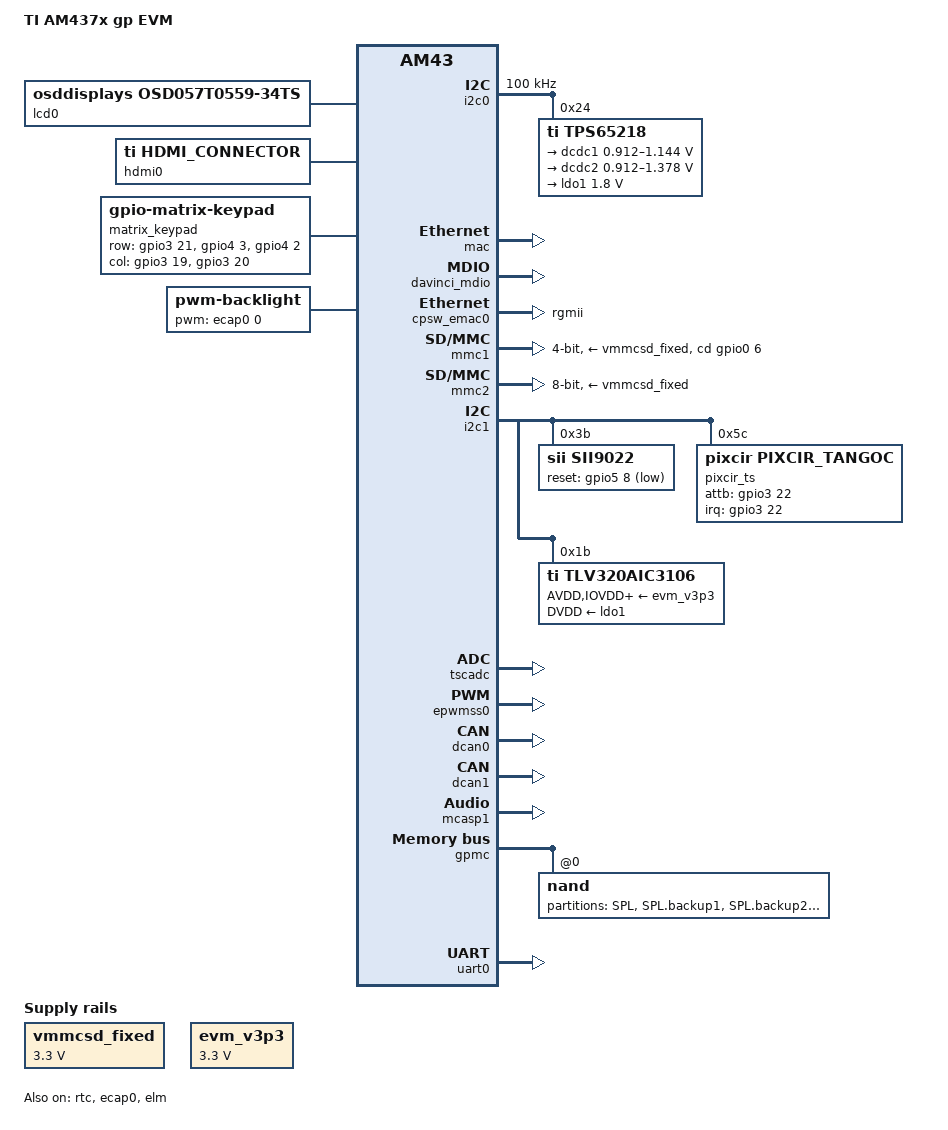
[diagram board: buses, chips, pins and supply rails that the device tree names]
/*
 * Copyright (C) 2013 Texas Instruments Incorporated - http://www.ti.com/
 *
 * This program is free software; you can redistribute it and/or modify
 * it under the terms of the GNU General Public License version 2 as
 * published by the Free Software Foundation.
 */

/* AM437x GP EVM */

/dts-v1/;

#include "am43x-common-evm.dtsi"
#include <dt-bindings/pinctrl/am43xx.h>
#include <dt-bindings/pwm/pwm.h>

/ {
	model = "TI AM437x gp EVM";
	compatible = "ti,am437x-gp-evm","ti,am4372","ti,am43";

	vmmcsd_fixed: fixedregulator-sd {
		compatible = "regulator-fixed";
		regulator-name = "vmmcsd_fixed";
		regulator-min-microvolt = <3300000>;
		regulator-max-microvolt = <3300000>;
		enable-active-high;
	};

	evm_v3p3: tps63031 {
		compatible = "regulator-fixed";
		regulator-name = "evm_v3p3";
		regulator-min-microvolt = <3300000>;
		regulator-max-microvolt = <3300000>;
	};

	aliases {
		display0 = &lcd0;
		display1 = &hdmi0;
	};

	lcd0: display@0 {
		compatible = "osddisplays,osd057T0559-34ts", "panel-dpi";
		video-source = <&dpi>;
		data-lines = <24>;
		panel-timing {
			clock-frequency = <33000000>;
			hactive = <800>;
			vactive = <480>;
			hfront-porch = <210>;
			hback-porch = <16>;
			hsync-len = <30>;
			vback-porch = <10>;
			vfront-porch = <22>;
			vsync-len = <13>;
			hsync-active = <0>;
			vsync-active = <0>;
			de-active = <1>;
			pixelclk-active = <1>;
		};
	};

	hdmi0: connector@1 {
		compatible = "ti,hdmi_connector";
		video-source = <&sii9022>;
	};

	sound {
		compatible = "ti,da830-evm-audio";
		ti,model = "AM437x-GP-EVM";
		ti,audio-codec = <&tlv320aic3106>;
		ti,mcasp-controller = <&mcasp1>;
		ti,codec-clock-rate = <12000000>;
		ti,audio-routing =
			"Headphone Jack",       "HPLOUT",
			"Headphone Jack",       "HPROUT",
			"LINE1L",               "Line In",
			"LINE1R",               "Line In";
	};

	matrix_keypad: matrix_keypad@0 {
		compatible = "gpio-matrix-keypad";
		debounce-delay-ms = <5>;
		col-scan-delay-us = <2>;

		row-gpios = <&gpio3 21 GPIO_ACTIVE_HIGH /* Bank3, pin21 */
				&gpio4 3 GPIO_ACTIVE_HIGH /* Bank4, pin3 */
				&gpio4 2 GPIO_ACTIVE_HIGH>; /* Bank4, pin2 */

		col-gpios = <&gpio3 19 GPIO_ACTIVE_HIGH /* Bank3, pin19 */
				&gpio3 20 GPIO_ACTIVE_HIGH>; /* Bank3, pin20 */

		linux,keymap = <0x00000201      /* P1 */
				0x00010202      /* P2 */
				0x01000067      /* UP */
				0x0101006a      /* RIGHT */
				0x02000069	/* LEFT */
				0x0201006c>;      /* DOWN */
	};

	backlight {
		compatible = "pwm-backlight";
		pwms = <&ecap0 0 50000 PWM_POLARITY_INVERTED>;
		brightness-levels = <0 51 53 56 62 75 101 152 255>;
		default-brightness-level = <8>;
	};

	cpus {
		cpu@0 {
			cpu0-supply = <&dcdc2>;
		};
	};
};

&am43xx_pinmux {

	cpsw_default: cpsw_default {
		pinctrl-single,pins = <
			/* Slave 1 */
			0x114 (PIN_OUTPUT_PULLDOWN | MUX_MODE2)	/* mii1_txen.rgmii1_txen */
			0x118 (PIN_INPUT_PULLDOWN | MUX_MODE2)	/* mii1_rxdv.rgmii1_rxctl */
			0x11c (PIN_OUTPUT_PULLDOWN | MUX_MODE2)	/* mii1_txd1.rgmii1_txd3 */
			0x120 (PIN_OUTPUT_PULLDOWN | MUX_MODE2)	/* mii1_txd0.rgmii1_txd2 */
			0x124 (PIN_OUTPUT_PULLDOWN | MUX_MODE2)	/* mii1_txd1.rgmii1_txd1 */
			0x128 (PIN_OUTPUT_PULLDOWN | MUX_MODE2)	/* mii1_txd0.rgmii1_txd0 */
			0x12c (PIN_OUTPUT_PULLDOWN | MUX_MODE2)	/* mii1_txclk.rmii1_tclk */
			0x130 (PIN_INPUT_PULLDOWN | MUX_MODE2)	/* mii1_rxclk.rmii1_rclk */
			0x134 (PIN_INPUT_PULLDOWN | MUX_MODE2)	/* mii1_rxd1.rgmii1_rxd3 */
			0x138 (PIN_INPUT_PULLDOWN | MUX_MODE2)	/* mii1_rxd0.rgmii1_rxd2 */
			0x13c (PIN_INPUT_PULLDOWN | MUX_MODE2)	/* mii1_rxd1.rgmii1_rxd1 */
			0x140 (PIN_INPUT_PULLDOWN | MUX_MODE2)	/* mii1_rxd0.rgmii1_rxd0 */
		>;
	};

	cpsw_sleep: cpsw_sleep {
		pinctrl-single,pins = <
			/* Slave 1 reset value */
			0x10c (PIN_INPUT_PULLDOWN | MUX_MODE7)
			0x114 (PIN_INPUT_PULLDOWN | MUX_MODE7)
			0x118 (PIN_INPUT_PULLDOWN | MUX_MODE7)
			0x11c (PIN_INPUT_PULLDOWN | MUX_MODE7)
			0x120 (PIN_INPUT_PULLDOWN | MUX_MODE7)
			0x124 (PIN_INPUT_PULLDOWN | MUX_MODE7)
			0x128 (PIN_INPUT_PULLDOWN | MUX_MODE7)
			0x12c (PIN_INPUT_PULLDOWN | MUX_MODE7)
			0x130 (PIN_INPUT_PULLDOWN | MUX_MODE7)
			0x134 (PIN_INPUT_PULLDOWN | MUX_MODE7)
			0x138 (PIN_INPUT_PULLDOWN | MUX_MODE7)
			0x13c (PIN_INPUT_PULLDOWN | MUX_MODE7)
			0x140 (PIN_INPUT_PULLDOWN | MUX_MODE7)
		>;
	};

	davinci_mdio_default: davinci_mdio_default {
		pinctrl-single,pins = <
			/* MDIO */
			0x148 (PIN_INPUT_PULLUP | SLEWCTRL_FAST | MUX_MODE0)	/* mdio_data.mdio_data */
			0x14c (PIN_OUTPUT_PULLUP | MUX_MODE0)			/* mdio_clk.mdio_clk */
		>;
	};

	davinci_mdio_sleep: davinci_mdio_sleep {
		pinctrl-single,pins = <
			/* MDIO reset value */
			0x148 (PIN_INPUT_PULLDOWN | MUX_MODE7)
			0x14c (PIN_INPUT_PULLDOWN | MUX_MODE7)
		>;
	};

	mmc1_pins: pinmux_mmc1_pins {
		pinctrl-single,pins = <
			0x160 (PIN_INPUT | MUX_MODE7) /* spi0_cs1.gpio0_6 */
		>;
	};

	emmc_pins: pinmux_emmc_pins {
		pinctrl-single,pins = <
			0x80 (PIN_INPUT_PULLUP | MUX_MODE2) /* gpmc_csn1.mmc1_clk */
			0x84 (PIN_INPUT_PULLUP | MUX_MODE2) /* gpmc_csn2.mmc1_cmd */
			0x00 (PIN_INPUT_PULLUP | MUX_MODE1) /* gpmc_ad0.mmc1_dat0 */
			0x04 (PIN_INPUT_PULLUP | MUX_MODE1) /* gpmc_ad1.mmc1_dat1 */
			0x08 (PIN_INPUT_PULLUP | MUX_MODE1) /* gpmc_ad2.mmc1_dat2 */
			0x0c (PIN_INPUT_PULLUP | MUX_MODE1) /* gpmc_ad3.mmc1_dat3 */
			0x10 (PIN_INPUT_PULLUP | MUX_MODE1) /* gpmc_ad4.mmc1_dat4 */
			0x14 (PIN_INPUT_PULLUP | MUX_MODE1) /* gpmc_ad5.mmc1_dat5 */
			0x18 (PIN_INPUT_PULLUP | MUX_MODE1) /* gpmc_ad6.mmc1_dat6 */
			0x1c (PIN_INPUT_PULLUP | MUX_MODE1) /* gpmc_ad7.mmc1_dat7 */
		>;
	};

	i2c0_pins: pinmux_i2c0_pins {
		pinctrl-single,pins = <
			0x188 (PIN_INPUT_PULLUP | SLEWCTRL_FAST | MUX_MODE0)    /* i2c0_sda.i2c0_sda */
			0x18c (PIN_INPUT_PULLUP | SLEWCTRL_FAST | MUX_MODE0)    /* i2c0_scl.i2c0_scl */
		>;
	};

	i2c1_pins: i2c1_pins {
		pinctrl-single,pins = <
			0x15c   (PIN_INPUT_PULLUP | SLEWCTRL_FAST | MUX_MODE2)  /* spi0_cs0.i2c1_scl */
			0x158   (PIN_INPUT_PULLUP | SLEWCTRL_FAST | MUX_MODE2)  /* spi0_d1.i2c1_sda */
		>;
	};

	dss_pinctrl: dss_pinctrl {
		pinctrl-single,pins = <
			0x020 (PIN_OUTPUT_PULLUP | MUX_MODE1) /*gpmc ad 8 -> DSS DATA 23 */
			0x024 (PIN_OUTPUT_PULLUP | MUX_MODE1)
			0x028 (PIN_OUTPUT_PULLUP | MUX_MODE1)
			0x02C (PIN_OUTPUT_PULLUP | MUX_MODE1)
			0x030 (PIN_OUTPUT_PULLUP | MUX_MODE1)
			0x034 (PIN_OUTPUT_PULLUP | MUX_MODE1)
			0x038 (PIN_OUTPUT_PULLUP | MUX_MODE1)
			0x03C (PIN_OUTPUT_PULLUP | MUX_MODE1) /*gpmc ad 15 -> DSS DATA 16 */
			0x0A0 (PIN_OUTPUT_PULLUP | MUX_MODE0) /* DSS DATA 0 */
			0x0A4 (PIN_OUTPUT_PULLUP | MUX_MODE0)
			0x0A8 (PIN_OUTPUT_PULLUP | MUX_MODE0)
			0x0AC (PIN_OUTPUT_PULLUP | MUX_MODE0)
			0x0B0 (PIN_OUTPUT_PULLUP | MUX_MODE0)
			0x0B4 (PIN_OUTPUT_PULLUP | MUX_MODE0)
			0x0B8 (PIN_OUTPUT_PULLUP | MUX_MODE0)
			0x0BC (PIN_OUTPUT_PULLUP | MUX_MODE0)
			0x0C0 (PIN_OUTPUT_PULLUP | MUX_MODE0)
			0x0C4 (PIN_OUTPUT_PULLUP | MUX_MODE0)
			0x0C8 (PIN_OUTPUT_PULLUP | MUX_MODE0)
			0x0CC (PIN_OUTPUT_PULLUP | MUX_MODE0)
			0x0D0 (PIN_OUTPUT_PULLUP | MUX_MODE0)
			0x0D4 (PIN_OUTPUT_PULLUP | MUX_MODE0)
			0x0D8 (PIN_OUTPUT_PULLUP | MUX_MODE0)
			0x0DC (PIN_OUTPUT_PULLUP | MUX_MODE0) /* DSS DATA 15 */
			0x0E0 (PIN_OUTPUT_PULLUP | MUX_MODE0) /* DSS VSYNC */
			0x0E4 (PIN_OUTPUT_PULLUP | MUX_MODE0) /* DSS HSYNC */
			0x0E8 (PIN_OUTPUT_PULLUP | MUX_MODE0) /* DSS PCLK */
			0x0EC (PIN_OUTPUT_PULLUP | MUX_MODE0) /* DSS AC BIAS EN */
			0x238 (PIN_OUTPUT_PULLUP | MUX_MODE7) /* GPIO 5_8 to select LCD / HDMI */
		>;
	};

	ecap0_pins: backlight_pins {
		pinctrl-single,pins = <
			0x164 0x0       /* eCAP0_in_PWM0_out.eCAP0_in_PWM0_out MODE0 */
		>;
	};

	pixcir_ts_pins: pixcir_ts_pins {
		pinctrl-single,pins = <
			0x264 (PIN_INPUT_PULLUP | MUX_MODE7)  /* spi2_d0.gpio3_22 */
		>;
	};

	dcan0_default: dcan0_default_pins {
		pinctrl-single,pins = <
			0x178 (PIN_OUTPUT_PULLDOWN | MUX_MODE2) /* uart1_ctsn.d_can0_tx */
			0x17c (PIN_INPUT_PULLUP | MUX_MODE2) /* uart1_rtsn.d_can0_rx */
		>;
	};

	dcan1_default: dcan1_default_pins {
		pinctrl-single,pins = <
			0x180 (PIN_OUTPUT_PULLDOWN | MUX_MODE2) /* uart1_rxd.d_can1_tx */
			0x184 (PIN_INPUT_PULLUP | MUX_MODE2) /* uart1_txd.d_can1_rx */
		>;
	};

	mcasp1_pins: mcasp1_pins {
		pinctrl-single,pins = <
			0x108 (PIN_OUTPUT_PULLDOWN | MUX_MODE4)	/* mii1_col.mcasp1_axr2 */
			0x10c (PIN_INPUT_PULLDOWN | MUX_MODE4)	/* mii1_crs.mcasp1_aclkx */
			0x110 (PIN_INPUT_PULLDOWN | MUX_MODE4)	/* mii1_rxerr.mcasp1_fsx */
			0x144 (PIN_INPUT_PULLDOWN | MUX_MODE4)	/* rmii1_ref_clk.mcasp1_axr3 */
		>;
	};

	nand_flash_x8: nand_flash_x8 {
		pinctrl-single,pins = <
			0x26C(PIN_OUTPUT_PULLDOWN | MUX_MODE7)	/* spi2_cs0.gpio/eMMCorNANDsel */
			0x0  (PIN_INPUT_PULLDOWN | MUX_MODE0)	/* gpmc_ad0.gpmc_ad0 */
			0x4  (PIN_INPUT_PULLDOWN | MUX_MODE0)	/* gpmc_ad1.gpmc_ad1 */
			0x8  (PIN_INPUT_PULLDOWN | MUX_MODE0)	/* gpmc_ad2.gpmc_ad2 */
			0xc  (PIN_INPUT_PULLDOWN | MUX_MODE0)	/* gpmc_ad3.gpmc_ad3 */
			0x10 (PIN_INPUT_PULLDOWN | MUX_MODE0)	/* gpmc_ad4.gpmc_ad4 */
			0x14 (PIN_INPUT_PULLDOWN | MUX_MODE0)	/* gpmc_ad5.gpmc_ad5 */
			0x18 (PIN_INPUT_PULLDOWN | MUX_MODE0)	/* gpmc_ad6.gpmc_ad6 */
			0x1c (PIN_INPUT_PULLDOWN | MUX_MODE0)	/* gpmc_ad7.gpmc_ad7 */
			0x70 (PIN_INPUT_PULLUP | MUX_MODE0)	/* gpmc_wait0.gpmc_wait0 */
			0x74 (PIN_OUTPUT_PULLUP | MUX_MODE7)	/* gpmc_wpn.gpmc_wpn */
			0x7c (PIN_OUTPUT | MUX_MODE0)		/* gpmc_csn0.gpmc_csn0  */
			0x90 (PIN_OUTPUT | MUX_MODE0)		/* gpmc_advn_ale.gpmc_advn_ale */
			0x94 (PIN_OUTPUT | MUX_MODE0)		/* gpmc_oen_ren.gpmc_oen_ren */
			0x98 (PIN_OUTPUT | MUX_MODE0)		/* gpmc_wen.gpmc_wen */
			0x9c (PIN_OUTPUT | MUX_MODE0)		/* gpmc_be0n_cle.gpmc_be0n_cle */
		>;
	};

	uart0_pins: uart0_pins {
		pinctrl-single,pins = <
			0x170 (PIN_INPUT_PULLUP | SLEWCTRL_FAST | DS0_PULL_UP_DOWN_EN | MUX_MODE0) /* uart0_rxd.uart0_rxd */
			0x174 (PIN_INPUT_PULLUP | SLEWCTRL_FAST | DS0_PULL_UP_DOWN_EN | MUX_MODE0) /* uart0_txd.uart0_txd */
		>;
	};

	tsl2550: tsl2550@39 {
		compatible = "taos,tsl2550";
		reg = <0x39>;
	};
};

&i2c0 {
        status = "okay";
        pinctrl-names = "default";
        pinctrl-0 = <&i2c0_pins>;
	clock-frequency = <100000>;

	tps65218: tps65218@24 {
		reg = <0x24>;
		compatible = "ti,tps65218";
		interrupts = <GIC_SPI 7 IRQ_TYPE_NONE>; /* NMIn */
		interrupt-parent = <&gic>;
		interrupt-controller;
		#interrupt-cells = <2>;

		dcdc1: regulator-dcdc1 {
			compatible = "ti,tps65218-dcdc1";
			/* VDD_CORE voltage limits min of OPP50 and max of OPP100 */
			regulator-name = "vdd_core";
			regulator-min-microvolt = <912000>;
			regulator-max-microvolt = <1144000>;
			regulator-boot-on;
			regulator-always-on;
		};

		dcdc2: regulator-dcdc2 {
			compatible = "ti,tps65218-dcdc2";
			/* VDD_MPU voltage limits min of OPP50 and max of OPP_NITRO */
			regulator-name = "vdd_mpu";
			regulator-min-microvolt = <912000>;
			regulator-max-microvolt = <1378000>;
			regulator-boot-on;
			regulator-always-on;
		};

		dcdc3: regulator-dcdc3 {
			compatible = "ti,tps65218-dcdc3";
		};

		ldo1: regulator-ldo1 {
			compatible = "ti,tps65218-ldo1";
			regulator-min-microvolt = <1800000>;
			regulator-max-microvolt = <1800000>;
			regulator-boot-on;
			regulator-always-on;
		};
	};
};

&rtc {
	status = "okay";
};

&gpio0 {
	status = "okay";
};

&gpio3 {
	status = "okay";
};

&gpio4 {
	status = "okay";
};

&gpio5 {
	status = "okay";
};

&dpi {
	pinctrl-names = "default";
	pinctrl-0 = <&dss_pinctrl>;
};

&mac {
	slaves = <1>;
	pinctrl-names = "default", "sleep";
	pinctrl-0 = <&cpsw_default>;
	pinctrl-1 = <&cpsw_sleep>;
	status = "okay";
};

&davinci_mdio {
	pinctrl-names = "default", "sleep";
	pinctrl-0 = <&davinci_mdio_default>;
	pinctrl-1 = <&davinci_mdio_sleep>;
	status = "okay";
};

&cpsw_emac0 {
	phy_id = <&davinci_mdio>, <0>;
	phy-mode = "rgmii";
};

&mmc1 {
	status = "okay";
	vmmc-supply = <&vmmcsd_fixed>;
	bus-width = <4>;
	pinctrl-names = "default";
	pinctrl-0 = <&mmc1_pins>;
	cd-gpios = <&gpio0 6 GPIO_ACTIVE_HIGH>;
};

&mmc2 {
	vmmc-supply = <&vmmcsd_fixed>;
	bus-width = <8>;
	ti,non-removable;
	pinctrl-names = "default";
	pinctrl-0 = <&emmc_pins>;
};

&i2c0 {
        status = "okay";
        pinctrl-names = "default";
        pinctrl-0 = <&i2c0_pins>;
};

&i2c1 {
        status = "okay";
        pinctrl-names = "default";
        pinctrl-0 = <&i2c1_pins>;

	sii9022: sii9022@3b {
		compatible = "sii,sii9022";
		reg = <0x3b>;
		reset-gpio = <&gpio5 8 GPIO_ACTIVE_LOW>;/* 'SelLCDorHDMI' Gpio, LOW to select HDMI */
		video-source = <&dpi>;
		data-lines = <24>;
	};

	pixcir_ts@5c {
		compatible = "pixcir,pixcir_tangoc";
		pinctrl-names = "default";
		pinctrl-0 = <&pixcir_ts_pins>;
		reg = <0x5c>;
		interrupt-parent = <&gpio3>;
		interrupts = <22 0>;

		attb-gpio = <&gpio3 22 GPIO_ACTIVE_HIGH>;

		x-size = <1024>;
		y-size = <600>;
	};

	tlv320aic3106: tlv320aic3106@1b {
		compatible = "ti,tlv320aic3106";
		reg = <0x1b>;
		status = "okay";

		/* Regulators */
		AVDD-supply = <&evm_v3p3>;
		IOVDD-supply = <&evm_v3p3>;
		DRVDD-supply = <&evm_v3p3>;
		DVDD-supply = <&ldo1>;

	};
};

&tscadc {
	status = "okay";

	adc {
		ti,adc-channels = <0 1 2 3 4 5 6 7>;
	};
};

&ecap0 {
	status = "okay";
	pinctrl-names = "default";
	pinctrl-0 = <&ecap0_pins>;
};

&epwmss0 {
	status = "okay";
};

&dcan0 {
	pinctrl-names = "default";
	pinctrl-0 = <&dcan0_default>;
	status = "okay";
};

&dcan1 {
	pinctrl-names = "default";
	pinctrl-0 = <&dcan1_default>;
	status = "okay";
};

&mcasp1 {
	pinctrl-names = "default";
	pinctrl-0 = <&mcasp1_pins>;

	status = "okay";

	op-mode = <0>; /* MCASP_IIS_MODE */
	tdm-slots = <2>;
	/* 4 serializers */
	serial-dir = <  /* 0: INACTIVE, 1: TX, 2: RX */
		0 0 1 2
	>;
	tx-num-evt = <1>;
	rx-num-evt = <1>;
};

&elm {
	status = "okay";
};

&gpmc {
	status = "okay";
	pinctrl-names = "default";
	pinctrl-0 = <&nand_flash_x8>;
	ranges = <0 0 0x08000000 0x10000000>;	/* CS0: NAND */
	nand@0,0 {
		reg = <0 0 0>; /* CS0, offset 0 */
		nand-bus-width = <8>;
		ti,nand-ecc-opt = "bch16";
		gpmc,device-width = <1>;
		gpmc,sync-clk-ps = <0>;
		gpmc,cs-on-ns = <0>;
		gpmc,cs-rd-off-ns = <160>;
		gpmc,cs-wr-off-ns = <160>;
		gpmc,adv-on-ns = <0>;
		gpmc,adv-rd-off-ns = <24>;
		gpmc,adv-wr-off-ns = <24>;
		gpmc,we-on-ns = <0>;
		gpmc,we-off-ns = <20>;
		gpmc,oe-on-ns = <3>;
		gpmc,oe-off-ns = <51>;
		gpmc,access-ns = <40>;
		gpmc,rd-cycle-ns = <160>;
		gpmc,wr-cycle-ns = <160>;
		gpmc,wait-on-read = "true";
		gpmc,wait-on-write = "true";
		gpmc,bus-turnaround-ns = <0>;
		gpmc,cycle2cycle-delay-ns = <0>;
		gpmc,clk-activation-ns = <0>;
		gpmc,wait-monitoring-ns = <0>;
		gpmc,wr-access-ns = <40>;
		gpmc,wr-data-mux-bus-ns = <0>;
		#address-cells = <1>;
		#size-cells = <1>;
		ti,elm-id = <&elm>;
		/* MTD partition table */
		partition@0 {
			label = "SPL";
			reg = <0x00000000 0x000040000>;
		};
		partition@1 {
			label = "SPL.backup1";
			reg = <0x00040000 0x00040000>;
		};
		partition@2 {
			label = "SPL.backup2";
			reg = <0x00080000 0x00040000>;
		};
		partition@3 {
			label = "SPL.backup3";
			reg = <0x000C0000 0x00040000>;
		};
		partition@4 {
			label = "u-boot";
			reg = <0x00100000 0x00100000>;
		};
		partition@5 {
			label = "u-boot-spl-os";
			reg = <0x00200000 0x00080000>;
		};
		partition@6 {
			label = "u-boot-env";
			reg = <0x00280000 0x00040000>;
		};
		partition@7 {
			label = "u-boot-env.backup1";
			reg = <0x002C0000 0x00040000>;
		};
		partition@8 {
			label = "kernel";
			reg = <0x00300000 0x00500000>;
		};
		partition@9 {
			label = "file-system";
			reg = <0x00800000 0x0F800000>;
		};
	};
};

&uart0 {
	status = "okay";
	pinctrl-names = "default";
	pinctrl-0 = <&uart0_pins>;
};
